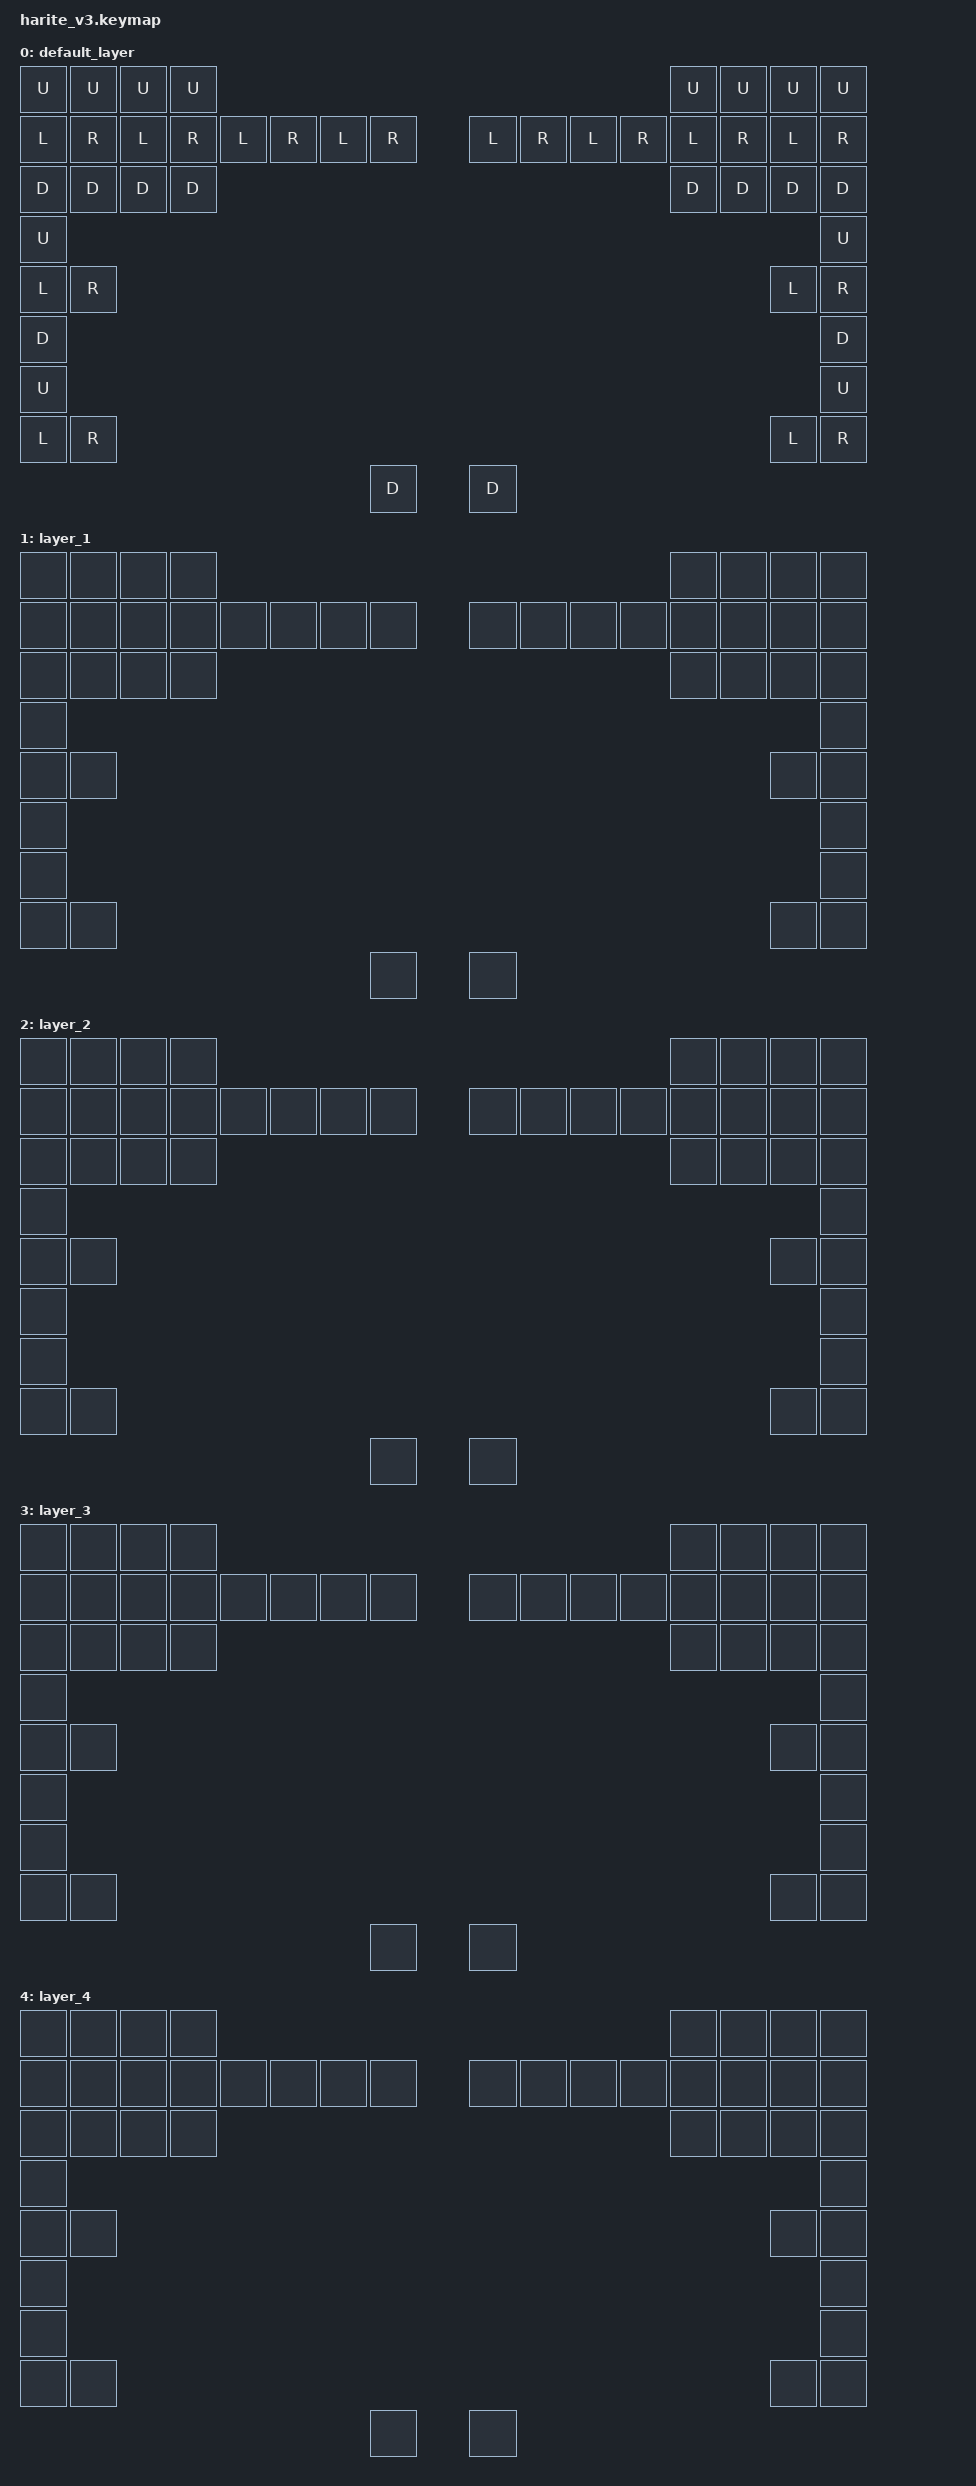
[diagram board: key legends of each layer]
#include <behaviors.dtsi>
#include <dt-bindings/zmk/keys.h>
#include <dt-bindings/zmk/bt.h>
#include <behaviors/mouse_keys.dtsi>

/ {
    combos {
      compatible = "zmk,combos";
      unlock_left {
        timeout-ms = <100>;
        key-positions = <0 1 2 3>;
        bindings = <&studio_unlock>;
        layers = <0>;
      };
      unlock_right {
        timeout-ms = <100>;
        key-positions = <4 5 6 7>;
        bindings = <&studio_unlock>;
        layers = <0>;
      };
    };

    keymap {
        compatible = "zmk,keymap";

        default_layer {
            bindings = <
                      &kp U              &kp U              &kp U              &kp U               &kp U              &kp U              &kp U              &kp U
                &kp L       &kp R  &kp L       &kp R  &kp L       &kp R  &kp L       &kp R   &kp L       &kp R  &kp L       &kp R  &kp L       &kp R  &kp L       &kp R
                      &kp D              &kp D              &kp D              &kp D               &kp D              &kp D              &kp D              &kp D

                                                                               &kp U               &kp U
                                                                         &kp L       &kp R   &kp L       &kp R
                                                                               &kp D               &kp D
                                                                               &kp U               &kp U
                                                                         &kp L       &kp R   &kp L       &kp R
                                                                               &kp D               &kp D
            >;
        };
        layer_1 {
            bindings = <
                      &none              &none              &none              &none               &none              &none              &none              &none
                &none       &none  &none       &none  &none       &none  &none       &none   &none       &none  &none       &none  &none       &none  &none       &none
                      &none              &none              &none              &none               &none              &none              &none              &none

                                                                               &none               &none
                                                                         &none       &none   &none       &none
                                                                               &none               &none
                                                                               &none               &none
                                                                         &none       &none   &none       &none
                                                                               &none               &none
            >;
        };
        layer_2 {
            bindings = <
                      &none              &none              &none              &none               &none              &none              &none              &none
                &none       &none  &none       &none  &none       &none  &none       &none   &none       &none  &none       &none  &none       &none  &none       &none
                      &none              &none              &none              &none               &none              &none              &none              &none

                                                                               &none               &none
                                                                         &none       &none   &none       &none
                                                                               &none               &none
                                                                               &none               &none
                                                                         &none       &none   &none       &none
                                                                               &none               &none
            >;
        };
        layer_3 {
            bindings = <
                      &none              &none              &none              &none               &none              &none              &none              &none
                &none       &none  &none       &none  &none       &none  &none       &none   &none       &none  &none       &none  &none       &none  &none       &none
                      &none              &none              &none              &none               &none              &none              &none              &none

                                                                               &none               &none
                                                                         &none       &none   &none       &none
                                                                               &none               &none
                                                                               &none               &none
                                                                         &none       &none   &none       &none
                                                                               &none               &none
            >;
        };
        layer_4 {
            bindings = <
                      &none              &none              &none              &none               &none              &none              &none              &none
                &none       &none  &none       &none  &none       &none  &none       &none   &none       &none  &none       &none  &none       &none  &none       &none
                      &none              &none              &none              &none               &none              &none              &none              &none

                                                                               &none               &none
                                                                         &none       &none   &none       &none
                                                                               &none               &none
                                                                               &none               &none
                                                                         &none       &none   &none       &none
                                                                               &none               &none
            >;
        };
    };

    /* PMW3310 */
    /* trackball_listener { */
    /*   compatible = "zmk,input-listener"; */
    /*   device = <&trackball>; */
    /* }; */
    /* Thumbstick */
    /* anin0: analog_input_0 { */
    /*   compatible = "zmk,analog-input"; */
    /*   status = "disabled"; */
    /*   sampling-hz = <100>; */
    /*   x-ch { */
    /*     io-channels = <&adc 2>; */
    /*     mv-mid = <1667>; */
    /*     mv-min-max = <3738>; */
    /*     mv-deadzone = <300>; */
    /*     scale-multiplier = <1>; */
    /*     scale-divisor = <1000>; */
    /*     invert; */
    /*     evt-type = <INPUT_EV_REL>; */
    /*     input-code = <INPUT_REL_X>; */
    /*   }; */
    /*   y-ch { */
    /*     io-channels = <&adc 3>; */
    /*     mv-mid = <2055>; */
    /*     mv-min-max = <3718>; */
    /*     mv-deadzone = <300>; */
    /*     scale-multiplier = <1>; */
    /*     scale-divisor = <1000>; */
    /*     evt-type = <INPUT_EV_REL>; */
    /*     input-code = <INPUT_REL_Y>; */
    /*   }; */
    /* }; */
    /* analog_input_listener { */
    /*     status = "okay"; */
    /*     compatible = "zmk,input-listener"; */
    /*     device = <&anin0>; */
    /*     input-processors = <&zip_xy_to_scroll_mapper>; */
    /* }; */
 };

/* Cirque */
&spi0 {
    status = "okay";
    glidepoint: glidepoint@0 {
        status = "okay";
    };
};

/* PMW3310 */
/* &spi1 { */
/*     status = "okay"; */
/*     trackball: trackball@0 { */
/*         status = "okay"; */
/*     }; */
/* }; */

/* Thumbstick */
/* &adc { */
/* 	status = "okay"; */
/* }; */

